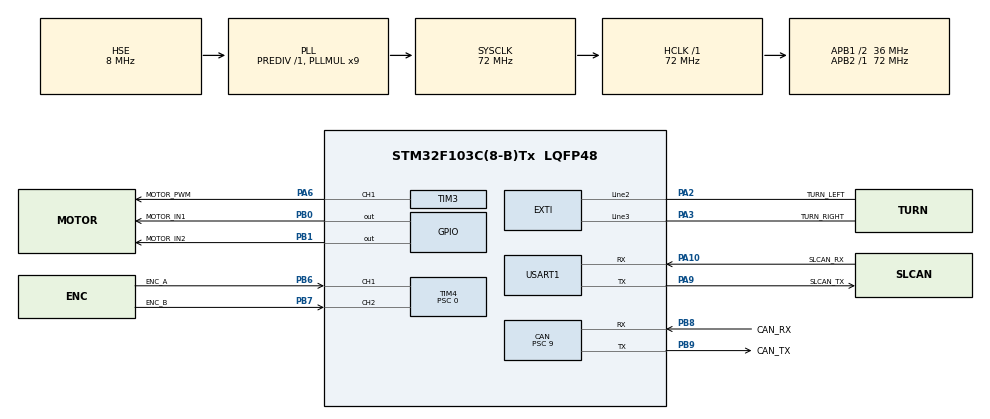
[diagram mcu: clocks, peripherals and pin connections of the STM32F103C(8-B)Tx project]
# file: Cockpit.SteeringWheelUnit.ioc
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CAN.ABOM=ENABLE
CAN.AWUM=DISABLE
CAN.BS1=CAN_BS1_6TQ
CAN.BS2=CAN_BS2_1TQ
CAN.Mode=CAN_MODE_NORMAL
CAN.NART=DISABLE
CAN.Prescaler=9
CAN.RFLM=DISABLE
CAN.SJW=CAN_SJW_1TQ
CAN.TTCM=DISABLE
CAN.TXFP=DISABLE
Mcu.Family=STM32F1
Mcu.Name=STM32F103C(8-B)Tx
Mcu.Package=LQFP48
NVIC.CAN1_RX0_IRQn=true\:2\:0\:true\:false\:true\:true\:true\:true
NVIC.EXTI2_IRQn=true\:3\:0\:true\:false\:true\:true\:true\:true
NVIC.EXTI3_IRQn=true\:3\:0\:true\:false\:true\:true\:true\:true
NVIC.PriorityGroup=NVIC_PRIORITYGROUP_4
NVIC.USART1_IRQn=true\:1\:0\:true\:false\:true\:true\:true\:true
PA2.GPIO_Label=TURN_LEFT
PA2.GPIO_PuPd=GPIO_PULLUP
PA2.Mode=External Interrupt Mode with Falling edge trigger detection
PA2.Signal=EXTI_Line2
PA3.GPIO_Label=TURN_RIGHT
PA3.GPIO_PuPd=GPIO_PULLUP
PA3.Mode=External Interrupt Mode with Falling edge trigger detection
PA3.Signal=EXTI_Line3
PA6.GPIO_Label=MOTOR_PWM
PA6.GPIO_Speed=GPIO_SPEED_FREQ_HIGH
PA6.Signal=S_TIM3_CH1
PA9.GPIO_Label=SLCAN_TX
PA9.GPIO_Speed=GPIO_SPEED_FREQ_HIGH
PA9.Mode=Asynchronous
PA9.Signal=USART1_TX
PA10.GPIO_Label=SLCAN_RX
PA10.Mode=Asynchronous
PA10.Signal=USART1_RX
PB0.GPIO_Label=MOTOR_IN1
PB0.GPIO_Speed=GPIO_SPEED_FREQ_LOW
PB0.Signal=GPIO_Output
PB1.GPIO_Label=MOTOR_IN2
PB1.GPIO_Speed=GPIO_SPEED_FREQ_LOW
PB1.Signal=GPIO_Output
PB6.GPIO_Label=ENC_A
PB6.GPIO_Mode=GPIO_MODE_AF_INPUT
PB6.GPIO_PuPd=GPIO_PULLUP
PB6.Signal=S_TIM4_CH1
PB7.GPIO_Label=ENC_B
PB7.GPIO_Mode=GPIO_MODE_AF_INPUT
PB7.GPIO_PuPd=GPIO_PULLUP
PB7.Signal=S_TIM4_CH2
PB8.GPIO_Label=CAN_RX
PB8.Mode=CAN_Activate
PB8.Signal=CAN_RX
PB9.GPIO_Label=CAN_TX
PB9.GPIO_Speed=GPIO_SPEED_FREQ_HIGH
PB9.Mode=CAN_Activate
PB9.Signal=CAN_TX
ProjectManager.HeapSize=0x400
ProjectManager.StackSize=0x400
ProjectManager.TargetToolchain=CMake
RCC.AHBFreq_Value=72000000
RCC.APB1CLKDivider=RCC_HCLK_DIV2
RCC.APB1Freq_Value=36000000
RCC.APB1TimFreq_Value=72000000
RCC.APB2CLKDivider=RCC_HCLK_DIV1
RCC.APB2Freq_Value=72000000
RCC.APB2TimFreq_Value=72000000
RCC.HCLKFreq_Value=72000000
RCC.HSEState=RCC_HSE_ON
RCC.PLLMul=RCC_PLL_MUL9
RCC.PLLSource=RCC_PLLSOURCE_HSE
RCC.SYSCLKFreq_VALUE=72000000
RCC.SYSCLKSource=RCC_SYSCLKSOURCE_PLLCLK
SH.S_TIM3_CH1.0=TIM3_CH1,PWM Generation CH1
SH.S_TIM4_CH1.0=TIM4_CH1,Encoder_Interface
SH.S_TIM4_CH2.0=TIM4_CH2,Encoder_Interface
TIM3.Channel-1=TIM_CHANNEL_1
TIM3.ClockDivision=TIM_CLOCKDIVISION_DIV1
TIM3.CounterMode=TIM_COUNTERMODE_UP
TIM3.Period=999
TIM3.Prescaler=71
TIM4.Channel-1=TIM_CHANNEL_1
TIM4.Channel-2=TIM_CHANNEL_2
TIM4.EncoderMode=TIM_ENCODERMODE_TI12
TIM4.IC1Filter=15
TIM4.IC2Filter=15
TIM4.Period=65535
TIM4.Prescaler=0
USART1.VirtualMode=VM_ASYNC
USART1.VirtualMode-Asynchronous=VM_ASYNC
VP_SYS_VS_ND.Mode=No_Debug
board=custom

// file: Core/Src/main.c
/* USER CODE BEGIN Header */
/**
  ******************************************************************************
  * @file           : main.c
  * @brief          : Cockpit SteeringWheelUnit Firmware
  *                   FFB via SLCAN (USART1, 2Mbaud) + CAN1 (500Kbps)
  *                   Motor: L298N + DC Motor | Sensor: Quadrature Encoder
  ******************************************************************************
  */
/* USER CODE END Header */
#include "main.h"

/* USER CODE BEGIN Includes */
#include <stdio.h>
#include <stdlib.h>
#include <string.h>
/* USER CODE END Includes */

/* USER CODE BEGIN PD */
#define ENCODER_PPR         400u
#define GEAR_RATIO          1u  /* Encoder directly connected, no gear */
/* Quadrature 4x counts per motor rev × gear ratio = counts per wheel rev */
#define COUNTS_PER_REV      (ENCODER_PPR * 4u * GEAR_RATIO)   /* 6400 */
#define MAX_STEERING_DEG    450.0f
/* ±450° in encoder counts: 6400 * 450/360 = 8000 */
#define MAX_ENC_COUNT       8000
#define PWM_PERIOD          999u

#define CAN_ID_STEERING     0x100u
#define CAN_ID_SWITCHES     0x101u
#define CAN_ID_FFB_DIAG     0x102u  /* FFB diagnostic */
#define CAN_ID_CAN_ESR      0x103u  /* CAN ESR diagnostic */
#define CAN_ID_FFB          0x105u
#define CAN_ID_ENC_ZERO     0x106u  /* Encoder zero calibration command */
#define CAN_ID_ANGLE_CAL    0x107u  /* Angle scale calibration: int16 known_angle×10 */
#define ANGLE_TX_PERIOD_MS  10u
#define SW_TX_PERIOD_MS     100u
/* USER CODE END PD */

CAN_HandleTypeDef hcan;

TIM_HandleTypeDef htim3;
TIM_HandleTypeDef htim4;

UART_HandleTypeDef huart1;

/* USER CODE BEGIN PV */
static volatile int16_t  g_ffb_torque    = 0;
static volatile int32_t  g_enc_total     = 0;
static volatile int32_t  g_enc_zero      = 0;  /* Encoder zero offset (set by 0x106 cmd) */
static volatile float    g_angle_scale   = (180.0f / 520.0f); /* Angle scale: 180° physical = 520° raw */
static volatile float    g_steering_deg  = 0.0f;
static          int16_t  g_enc_prev      = 0;
static volatile uint8_t  g_slcan_open    = 0;
static volatile uint8_t  g_turn_left     = 0;
static volatile uint8_t  g_turn_right    = 0;

static volatile uint32_t g_ffb_rx_count  = 0;
static volatile int16_t  g_ffb_last_raw = 0;
static volatile uint32_t g_last_duty    = 0;

static uint8_t  g_slcan_line[32];
static uint8_t  g_slcan_pos     = 0;
static uint8_t  g_uart_rx_byte  = 0;
/* USER CODE END PV */

void SystemClock_Config(void);
static void MX_GPIO_Init(void);
static void MX_USART1_UART_Init(void);
/* USER CODE BEGIN PFP */
static void Motor_SetTorque(int16_t torque);
static void Encoder_Update(void);
static void SLCAN_ProcessByte(uint8_t byte);
static void SLCAN_ParseLine(void);
static void SLCAN_SendAngle(void);
static void TurnSignal_Send(void);
static uint8_t Hex2Nibble(uint8_t c);
/* USER CODE END PFP */

/* USER CODE BEGIN 0 */

static void Motor_SetTorque(int16_t torque)
{
    /* Hard end-stop: actively push back at full power when past max angle */
    if (g_steering_deg >= MAX_STEERING_DEG) {
        torque = -32767;
    } else if (g_steering_deg <= -MAX_STEERING_DEG) {
        torque = 32767;
    }

    int32_t abs_t = (torque < 0) ? -torque : torque;
    uint32_t duty = (uint32_t)(abs_t * PWM_PERIOD / 32767u);

    /* Minimum duty: L298N needs ~15% to overcome motor friction */
    const uint32_t min_duty = 150u;
    if (abs_t > 0 && duty < min_duty) duty = min_duty;

    if (torque > 0) {
        HAL_GPIO_WritePin(MOTOR_IN1_GPIO_Port, MOTOR_IN1_Pin, GPIO_PIN_SET);
        HAL_GPIO_WritePin(MOTOR_IN2_GPIO_Port, MOTOR_IN2_Pin, GPIO_PIN_RESET);
    } else if (torque < 0) {
        HAL_GPIO_WritePin(MOTOR_IN1_GPIO_Port, MOTOR_IN1_Pin, GPIO_PIN_RESET);
        HAL_GPIO_WritePin(MOTOR_IN2_GPIO_Port, MOTOR_IN2_Pin, GPIO_PIN_SET);
    } else {
        /* Brake: both IN low */
        HAL_GPIO_WritePin(MOTOR_IN1_GPIO_Port, MOTOR_IN1_Pin, GPIO_PIN_RESET);
        HAL_GPIO_WritePin(MOTOR_IN2_GPIO_Port, MOTOR_IN2_Pin, GPIO_PIN_RESET);
        duty = 0;
    }
    g_last_duty = duty;
    __HAL_TIM_SET_COMPARE(&htim3, TIM_CHANNEL_1, duty);
}

static void Encoder_Update(void)
{
    /* Two's-complement delta handles 16-bit counter overflow correctly */
    int16_t raw   = (int16_t)__HAL_TIM_GET_COUNTER(&htim4);
    int16_t delta = raw - g_enc_prev;
    g_enc_prev    = raw;

    /* Only update if encoder moved */
    if (delta != 0) {
        g_enc_total += delta;

        int32_t enc_rel = g_enc_total - g_enc_zero;
        if (enc_rel >  MAX_ENC_COUNT) enc_rel =  MAX_ENC_COUNT;
        if (enc_rel < -MAX_ENC_COUNT) enc_rel = -MAX_ENC_COUNT;

        g_steering_deg = (float)enc_rel * 360.0f / (float)COUNTS_PER_REV * g_angle_scale;

        /* Visual feedback: toggle LED on encoder movement */
        HAL_GPIO_TogglePin(GPIOC, GPIO_PIN_13);
    }
}

static uint8_t Hex2Nibble(uint8_t c)
{
    if (c >= '0' && c <= '9') return c - '0';
    if (c >= 'A' && c <= 'F') return c - 'A' + 10u;
    if (c >= 'a' && c <= 'f') return c - 'a' + 10u;
    return 0;
}

static void SLCAN_SendAngle(void)
{
    int16_t raw = (int16_t)(g_steering_deg * 10.0f);
    uint8_t d[2] = { (uint8_t)(raw & 0xFF), (uint8_t)((raw >> 8) & 0xFF) };

    if (g_slcan_open) {
        uint8_t buf[14];
        uint8_t len = (uint8_t)snprintf((char *)buf, sizeof(buf),
            "t%03X2%02X%02X\r", CAN_ID_STEERING, d[0], d[1]);
        HAL_UART_Transmit(&huart1, buf, len, 20);
    }

    /* Also broadcast on physical CAN bus */
    CAN_TxHeaderTypeDef hdr = {
        .StdId              = CAN_ID_STEERING,
        .IDE                = CAN_ID_STD,
        .RTR                = CAN_RTR_DATA,
        .DLC                = 2,
        .TransmitGlobalTime = DISABLE,
    };
    uint32_t mailbox;
    HAL_CAN_AddTxMessage(&hcan, &hdr, d, &mailbox);
}

static void SLCAN_ParseLine(void)
{
    const uint8_t ack = '\r';
    switch (g_slcan_line[0]) {
    case 'O':
        g_slcan_open = 1;
        HAL_UART_Transmit(&huart1, (uint8_t *)&ack, 1, 10);
        break;

    case 'C':
        g_slcan_open = 0;
        Motor_SetTorque(0);
        HAL_UART_Transmit(&huart1, (uint8_t *)&ack, 1, 10);
        break;

    case 'S':
        /* Speed command ignored: baud is fixed via UART hardware */
        HAL_UART_Transmit(&huart1, (uint8_t *)&ack, 1, 10);
        break;

    case 'V': case 'v':
        HAL_UART_Transmit(&huart1, (uint8_t *)"V0101\r", 6, 10);
        break;

    case 't': {
        /* t<3hex_id><1hex_dlc><2hex × dlc> */
        if (g_slcan_pos < 5u) break;
        uint16_t can_id = (uint16_t)(
            ((uint16_t)Hex2Nibble(g_slcan_line[1]) << 8) |
            ((uint16_t)Hex2Nibble(g_slcan_line[2]) << 4) |
             (uint16_t)Hex2Nibble(g_slcan_line[3]));
        uint8_t dlc = g_slcan_line[4] - '0';
        if (dlc > 8u || g_slcan_pos < (uint8_t)(5u + dlc * 2u)) break;

        uint8_t data[8];
        for (uint8_t i = 0; i < dlc; i++) {
            data[i] = (uint8_t)(
                (Hex2Nibble(g_slcan_line[5u + i * 2u]) << 4) |
                 Hex2Nibble(g_slcan_line[6u + i * 2u]));
        }

        if (can_id == CAN_ID_FFB && dlc >= 2u) {
            g_ffb_torque = (int16_t)(data[0] | ((uint16_t)data[1] << 8));
            Motor_SetTorque(g_ffb_torque);
        }
        HAL_UART_Transmit(&huart1, (uint8_t *)"z\r", 2, 10);
        break;
    }
    default:
        break;
    }
}

static void SLCAN_ProcessByte(uint8_t byte)
{
    if (byte == '\r' || byte == '\n') {
        if (g_slcan_pos > 0u) {
            g_slcan_line[g_slcan_pos] = '\0';
            SLCAN_ParseLine();
            g_slcan_pos = 0;
        }
    } else if (g_slcan_pos < (uint8_t)(sizeof(g_slcan_line) - 1u)) {
        g_slcan_line[g_slcan_pos++] = byte;
    }
}

static void TurnSignal_Send(void)
{
    uint16_t sw = (uint16_t)(g_turn_left | ((uint16_t)g_turn_right << 1));
    uint8_t d[2] = { (uint8_t)(sw & 0xFF), (uint8_t)(sw >> 8) };

    if (g_slcan_open) {
        uint8_t buf[14];
        uint8_t len = (uint8_t)snprintf((char *)buf, sizeof(buf),
            "t%03X2%02X%02X\r", CAN_ID_SWITCHES, d[0], d[1]);
        HAL_UART_Transmit(&huart1, buf, len, 20);
    }

    CAN_TxHeaderTypeDef hdr = {
        .StdId              = CAN_ID_SWITCHES,
        .IDE                = CAN_ID_STD,
        .RTR                = CAN_RTR_DATA,
        .DLC                = 2,
        .TransmitGlobalTime = DISABLE,
    };
    uint32_t mailbox;
    HAL_CAN_AddTxMessage(&hcan, &hdr, d, &mailbox);
}

/* USER CODE END 0 */

int main(void)
{

  /* MCU Configuration--------------------------------------------------------*/

  /* Reset of all peripherals, Initializes the Flash interface and the Systick. */
  HAL_Init();

  /* Configure the system clock */
  SystemClock_Config();

  /* Initialize all configured peripherals */
  MX_GPIO_Init();
  MX_CAN_Init();
  MX_TIM3_Init();
  MX_TIM4_Init();
  MX_USART1_UART_Init();
  /* USER CODE BEGIN 2 */
  HAL_TIM_PWM_Start(&htim3, TIM_CHANNEL_1);
  HAL_TIM_Encoder_Start(&htim4, TIM_CHANNEL_ALL);

  /* Initialize encoder previous value to current counter */
  g_enc_prev = (int16_t)__HAL_TIM_GET_COUNTER(&htim4);

  /* CAN: accept all frames, then start */
  CAN_FilterTypeDef filter = {
      .FilterBank           = 0,
      .FilterMode           = CAN_FILTERMODE_IDMASK,
      .FilterScale          = CAN_FILTERSCALE_32BIT,
      .FilterIdHigh         = 0x0000,
      .FilterIdLow          = 0x0000,
      .FilterMaskIdHigh     = 0x0000,
      .FilterMaskIdLow      = 0x0000,
      .FilterFIFOAssignment = CAN_RX_FIFO0,
      .FilterActivation     = ENABLE,
  };
  HAL_CAN_ConfigFilter(&hcan, &filter);
  HAL_CAN_ActivateNotification(&hcan, CAN_IT_RX_FIFO0_MSG_PENDING);
  HAL_CAN_Start(&hcan);

  /* === CAN SELF-TEST: TX 0x105, check if RX callback fires === */
  {
      CAN_TxHeaderTypeDef hdr = {
          .StdId              = CAN_ID_FFB,
          .IDE                = CAN_ID_STD,
          .RTR                = CAN_RTR_DATA,
          .DLC                = 2,
          .TransmitGlobalTime = DISABLE,
      };
      uint8_t test_data[2] = { 0x7F, 0x00 }; // torque = 127
      uint32_t mailbox;
      HAL_CAN_AddTxMessage(&hcan, &hdr, test_data, &mailbox);
      HAL_Delay(50); // Wait for RX callback
      // rxCount should be 1 if self-reception works
  }
  /* === END SELF-TEST === */

  /* UART: start single-byte interrupt receive */
  HAL_UART_Receive_IT(&huart1, &g_uart_rx_byte, 1);

  /* Motor idle: brake */
  HAL_GPIO_WritePin(MOTOR_IN1_GPIO_Port, MOTOR_IN1_Pin, GPIO_PIN_RESET);
  HAL_GPIO_WritePin(MOTOR_IN2_GPIO_Port, MOTOR_IN2_Pin, GPIO_PIN_RESET);
  __HAL_TIM_SET_COMPARE(&htim3, TIM_CHANNEL_1, 0);

  /* EXTI interrupts for turn signal stalks */
  HAL_NVIC_SetPriority(EXTI2_IRQn, 3, 0);
  HAL_NVIC_EnableIRQ(EXTI2_IRQn);
  HAL_NVIC_SetPriority(EXTI3_IRQn, 3, 0);
  HAL_NVIC_EnableIRQ(EXTI3_IRQn);

  uint32_t last_angle_tx   = 0;
  uint32_t last_enc_update = 0;
  uint32_t last_sw_tx      = 0;
  uint32_t last_led        = 0;
  /* USER CODE END 2 */

  /* Infinite loop */
  /* USER CODE BEGIN WHILE */
  while (1)
  {
    uint32_t now = HAL_GetTick();

    /* Update encoder position every 1 ms */
    if ((now - last_enc_update) >= 1u) {
      Encoder_Update();
      last_enc_update = now;
    }

    /* Send steering angle and re-apply FFB every 10 ms (100 Hz) */
    if ((now - last_angle_tx) >= ANGLE_TX_PERIOD_MS) {
      Motor_SetTorque(g_ffb_torque);
      SLCAN_SendAngle();

      /* FFB diagnostic: send rx_count, last_raw, last_duty, steering_deg */
      {
        uint8_t dbg[8];
        dbg[0] = (uint8_t)(g_ffb_rx_count & 0xFF);
        dbg[1] = (uint8_t)((g_ffb_rx_count >> 8) & 0xFF);
        dbg[2] = (uint8_t)(g_ffb_last_raw & 0xFF);
        dbg[3] = (uint8_t)((g_ffb_last_raw >> 8) & 0xFF);
        dbg[4] = (uint8_t)(g_last_duty & 0xFF);
        dbg[5] = (uint8_t)((g_last_duty >> 8) & 0xFF);
        int16_t deg10 = (int16_t)(g_steering_deg * 10.0f);
        dbg[6] = (uint8_t)(deg10 & 0xFF);
        dbg[7] = (uint8_t)((deg10 >> 8) & 0xFF);

        CAN_TxHeaderTypeDef hdr = {
            .StdId              = CAN_ID_FFB_DIAG,
            .IDE                = CAN_ID_STD,
            .RTR                = CAN_RTR_DATA,
            .DLC                = 8,
            .TransmitGlobalTime = DISABLE,
        };
        uint32_t mailbox;
        HAL_CAN_AddTxMessage(&hcan, &hdr, dbg, &mailbox);
      }

      /* CAN ESR diagnostic: send CAN error + bus status */
      {
        uint32_t esr = hcan.Instance->ESR;
        uint32_t rf0r = hcan.Instance->RF0R;  /* RX FIFO 0: bits [1:0]=FMP (pending msgs) */
        uint32_t tsr = hcan.Instance->TSR;     /* TX status */
        uint32_t idr = GPIOB->IDR;             /* PB8=CAN_RX actual pin level */

        uint8_t dbg[8];
        dbg[0] = (uint8_t)(esr & 0xFF);        /* EWG/EPV/BOFF/LEC */
        dbg[1] = (uint8_t)((esr >> 16) & 0xFF);/* TEC */
        dbg[2] = (uint8_t)((esr >> 24) & 0xFF);/* REC */
        dbg[3] = (uint8_t)(rf0r & 0xFF);       /* RF0R: FMP0, FULL, FOVR */
        dbg[4] = (uint8_t)((tsr >> 24) & 0xFF);/* TSR: TXOK0/1/2, TME0/1/2 */
        dbg[5] = (uint8_t)((idr >> 8) & 0x01); /* PB8 pin level (0=dominant, 1=recessive) */
        dbg[6] = (uint8_t)(hcan.Instance->BTR & 0xFF); /* BTR low byte: prescaler bits */
        dbg[7] = (uint8_t)((hcan.Instance->BTR >> 8) & 0xFF); /* BTR: TS1/TS2/SJW */

        CAN_TxHeaderTypeDef hdr = {
            .StdId              = CAN_ID_CAN_ESR,
            .IDE                = CAN_ID_STD,
            .RTR                = CAN_RTR_DATA,
            .DLC                = 8,
            .TransmitGlobalTime = DISABLE,
        };
        uint32_t mailbox;
        HAL_CAN_AddTxMessage(&hcan, &hdr, dbg, &mailbox);
      }
      last_angle_tx = now;
    }

    /* Periodic turn signal heartbeat every 100 ms */
    if ((now - last_sw_tx) >= SW_TX_PERIOD_MS) {
      TurnSignal_Send();
      last_sw_tx = now;
    }

    /* LED heartbeat: toggle every 500 ms */
    if ((now - last_led) >= 500u) {
      HAL_GPIO_TogglePin(GPIOC, GPIO_PIN_13);
      last_led = now;
    }
    /* USER CODE END WHILE */

  }
}

void SystemClock_Config(void)
{
  RCC_OscInitTypeDef RCC_OscInitStruct = {0};
  RCC_ClkInitTypeDef RCC_ClkInitStruct = {0};

  /** Initializes the RCC Oscillators according to the specified parameters
  * in the RCC_OscInitTypeDef structure.
  */
  RCC_OscInitStruct.OscillatorType = RCC_OSCILLATORTYPE_HSE;
  RCC_OscInitStruct.HSEState = RCC_HSE_ON;
  RCC_OscInitStruct.HSEPredivValue = RCC_HSE_PREDIV_DIV1;
  RCC_OscInitStruct.HSIState = RCC_HSI_ON;
  RCC_OscInitStruct.PLL.PLLState = RCC_PLL_ON;
  RCC_OscInitStruct.PLL.PLLSource = RCC_PLLSOURCE_HSE;
  RCC_OscInitStruct.PLL.PLLMUL = RCC_PLL_MUL9;
  if (HAL_RCC_OscConfig(&RCC_OscInitStruct) != HAL_OK)
  {
    Error_Handler();
  }

  /** Initializes the CPU, AHB and APB buses clocks
  */
  RCC_ClkInitStruct.ClockType = RCC_CLOCKTYPE_HCLK|RCC_CLOCKTYPE_SYSCLK
                              |RCC_CLOCKTYPE_PCLK1|RCC_CLOCKTYPE_PCLK2;
  RCC_ClkInitStruct.SYSCLKSource = RCC_SYSCLKSOURCE_PLLCLK;
  RCC_ClkInitStruct.AHBCLKDivider = RCC_SYSCLK_DIV1;
  RCC_ClkInitStruct.APB1CLKDivider = RCC_HCLK_DIV2;
  RCC_ClkInitStruct.APB2CLKDivider = RCC_HCLK_DIV1;

  if (HAL_RCC_ClockConfig(&RCC_ClkInitStruct, FLASH_LATENCY_2) != HAL_OK)
  {
    Error_Handler();
  }
}

void MX_CAN_Init(void)
{

  hcan.Instance = CAN1;
  hcan.Init.Prescaler = 9;
  hcan.Init.Mode = CAN_MODE_NORMAL;
  hcan.Init.SyncJumpWidth = CAN_SJW_1TQ;
  hcan.Init.TimeSeg1 = CAN_BS1_6TQ;
  hcan.Init.TimeSeg2 = CAN_BS2_1TQ;
  hcan.Init.TimeTriggeredMode = DISABLE;
  hcan.Init.AutoBusOff = ENABLE;
  hcan.Init.AutoWakeUp = DISABLE;
  hcan.Init.AutoRetransmission = DISABLE;
  hcan.Init.ReceiveFifoLocked = DISABLE;
  hcan.Init.TransmitFifoPriority = DISABLE;
  if (HAL_CAN_Init(&hcan) != HAL_OK)
  {
    Error_Handler();
  }

}

void MX_TIM3_Init(void)
{

  TIM_SlaveConfigTypeDef sSlaveConfig = {0};
  TIM_MasterConfigTypeDef sMasterConfig = {0};

  htim3.Instance = TIM3;
  htim3.Init.Prescaler = 71;
  htim3.Init.CounterMode = TIM_COUNTERMODE_UP;
  htim3.Init.Period = 999;
  htim3.Init.ClockDivision = TIM_CLOCKDIVISION_DIV1;
  htim3.Init.AutoReloadPreload = TIM_AUTORELOAD_PRELOAD_DISABLE;
  if (HAL_TIM_Base_Init(&htim3) != HAL_OK)
  {
    Error_Handler();
  }
  sSlaveConfig.SlaveMode = TIM_SLAVEMODE_DISABLE;
  sSlaveConfig.InputTrigger = TIM_TS_TI1F_ED;
  sSlaveConfig.TriggerFilter = 0;
  if (HAL_TIM_SlaveConfigSynchro(&htim3, &sSlaveConfig) != HAL_OK)
  {
    Error_Handler();
  }
  sMasterConfig.MasterOutputTrigger = TIM_TRGO_RESET;
  sMasterConfig.MasterSlaveMode = TIM_MASTERSLAVEMODE_DISABLE;
  if (HAL_TIMEx_MasterConfigSynchronization(&htim3, &sMasterConfig) != HAL_OK)
  {
    Error_Handler();
  }
  /* USER CODE BEGIN TIM3_Init 2 */
  {
    TIM_OC_InitTypeDef sConfigOC = {0};
    sConfigOC.OCMode     = TIM_OCMODE_PWM1;
    sConfigOC.Pulse      = 0;
    sConfigOC.OCPolarity = TIM_OCPOLARITY_HIGH;
    sConfigOC.OCFastMode = TIM_OCFAST_DISABLE;
    if (HAL_TIM_PWM_ConfigChannel(&htim3, &sConfigOC, TIM_CHANNEL_1) != HAL_OK) {
      Error_Handler();
    }
  }
  /* USER CODE END TIM3_Init 2 */

}

void MX_TIM4_Init(void)
{

  TIM_Encoder_InitTypeDef sConfig = {0};
  TIM_MasterConfigTypeDef sMasterConfig = {0};

  htim4.Instance = TIM4;
  htim4.Init.Prescaler = 0;
  htim4.Init.CounterMode = TIM_COUNTERMODE_UP;
  htim4.Init.Period = 65535;
  htim4.Init.ClockDivision = TIM_CLOCKDIVISION_DIV1;
  htim4.Init.AutoReloadPreload = TIM_AUTORELOAD_PRELOAD_DISABLE;
  sConfig.EncoderMode = TIM_ENCODERMODE_TI12;
  sConfig.IC1Polarity = TIM_ICPOLARITY_RISING;
  sConfig.IC1Selection = TIM_ICSELECTION_DIRECTTI;
  sConfig.IC1Prescaler = TIM_ICPSC_DIV1;
  sConfig.IC1Filter = 0;
  sConfig.IC2Polarity = TIM_ICPOLARITY_RISING;
  sConfig.IC2Selection = TIM_ICSELECTION_DIRECTTI;
  sConfig.IC2Prescaler = TIM_ICPSC_DIV1;
  sConfig.IC2Filter = 0;
  if (HAL_TIM_Encoder_Init(&htim4, &sConfig) != HAL_OK)
  {
    Error_Handler();
  }
  sMasterConfig.MasterOutputTrigger = TIM_TRGO_RESET;
  sMasterConfig.MasterSlaveMode = TIM_MASTERSLAVEMODE_DISABLE;
  if (HAL_TIMEx_MasterConfigSynchronization(&htim4, &sMasterConfig) != HAL_OK)
  {
    Error_Handler();
  }

}

static void MX_USART1_UART_Init(void)
{

  huart1.Instance = USART1;
  huart1.Init.BaudRate = 115200;
  huart1.Init.WordLength = UART_WORDLENGTH_8B;
  huart1.Init.StopBits = UART_STOPBITS_1;
  huart1.Init.Parity = UART_PARITY_NONE;
  huart1.Init.Mode = UART_MODE_TX_RX;
  huart1.Init.HwFlowCtl = UART_HWCONTROL_NONE;
  huart1.Init.OverSampling = UART_OVERSAMPLING_16;
  if (HAL_UART_Init(&huart1) != HAL_OK)
  {
    Error_Handler();
  }
  /* USER CODE BEGIN USART1_Init 2 */
  huart1.Init.BaudRate = 2000000;
  if (HAL_UART_Init(&huart1) != HAL_OK) { Error_Handler(); }
  /* USER CODE END USART1_Init 2 */

}

static void MX_GPIO_Init(void)
{
  GPIO_InitTypeDef GPIO_InitStruct = {0};

  /* GPIO Ports Clock Enable */
  __HAL_RCC_GPIOA_CLK_ENABLE();
  __HAL_RCC_GPIOB_CLK_ENABLE();

  /*Configure GPIO pin Output Level */
  HAL_GPIO_WritePin(GPIOB, MOTOR_IN1_Pin|MOTOR_IN2_Pin, GPIO_PIN_RESET);

  /*Configure GPIO pins : MOTOR_IN1_Pin MOTOR_IN2_Pin */
  GPIO_InitStruct.Pin = MOTOR_IN1_Pin|MOTOR_IN2_Pin;
  GPIO_InitStruct.Mode = GPIO_MODE_OUTPUT_PP;
  GPIO_InitStruct.Pull = GPIO_NOPULL;
  GPIO_InitStruct.Speed = GPIO_SPEED_FREQ_LOW;
  HAL_GPIO_Init(GPIOB, &GPIO_InitStruct);

  /* USER CODE BEGIN MX_GPIO_Init_2 */
  {
    GPIO_InitTypeDef g = {0};
    g.Pin  = TURN_LEFT_Pin;
    g.Mode = GPIO_MODE_IT_FALLING;
    g.Pull = GPIO_PULLUP;
    HAL_GPIO_Init(TURN_LEFT_GPIO_Port, &g);

    g.Pin  = TURN_RIGHT_Pin;
    g.Mode = GPIO_MODE_IT_FALLING;
    g.Pull = GPIO_PULLUP;
    HAL_GPIO_Init(TURN_RIGHT_GPIO_Port, &g);

    /* PC13: onboard LED (active LOW) — blinks when encoder moves */
    __HAL_RCC_GPIOC_CLK_ENABLE();
    g.Pin   = GPIO_PIN_13;
    g.Mode  = GPIO_MODE_OUTPUT_PP;
    g.Pull  = GPIO_NOPULL;
    g.Speed = GPIO_SPEED_FREQ_LOW;
    HAL_GPIO_Init(GPIOC, &g);
    HAL_GPIO_WritePin(GPIOC, GPIO_PIN_13, GPIO_PIN_SET); /* LED off */
  }
  /* USER CODE END MX_GPIO_Init_2 */
}

/* USER CODE BEGIN 4 */

/* CAN RX FIFO0 callback — forwards all frames via SLCAN, handles FFB torque */
void HAL_CAN_RxFifo0MsgPendingCallback(CAN_HandleTypeDef *hcan_arg)
{
  CAN_RxHeaderTypeDef rx_hdr;
  uint8_t             rx_data[8];

  if (HAL_CAN_GetRxMessage(hcan_arg, CAN_RX_FIFO0, &rx_hdr, rx_data) != HAL_OK)
    return;

  if (rx_hdr.StdId == CAN_ID_FFB && rx_hdr.DLC >= 2u) {
    g_ffb_torque = (int16_t)(rx_data[0] | ((uint16_t)rx_data[1] << 8));
    g_ffb_rx_count++;
    g_ffb_last_raw = g_ffb_torque;
    Motor_SetTorque(g_ffb_torque);
  } else if (rx_hdr.StdId == CAN_ID_ENC_ZERO) {
    /* Set current encoder position as zero (wheel must be at physical center) */
    g_enc_zero = g_enc_total;
    g_steering_deg = 0.0f;
  } else if (rx_hdr.StdId == CAN_ID_ANGLE_CAL && rx_hdr.DLC >= 2u) {
    /* Angle scale calibration: data = known angle × 10 (int16 LE).
     * Turn wheel to a known angle from zero, then send this command.
     * STM32 computes the correction factor from enc_rel vs known angle. */
    int16_t known_deg10 = (int16_t)(rx_data[0] | ((uint16_t)rx_data[1] << 8));
    int32_t enc_rel = g_enc_total - g_enc_zero;
    if (enc_rel != 0 && known_deg10 != 0) {
      float reported = (float)enc_rel * 360.0f / (float)COUNTS_PER_REV;
      g_angle_scale = (known_deg10 / 10.0f) / reported;
    }
  }

  /* Forward every received frame to host via SLCAN (always, regardless of open state) */
  {
    uint8_t buf[30];
    uint8_t len = (uint8_t)snprintf((char *)buf, sizeof(buf), "t%03X%u",
                                    (unsigned)rx_hdr.StdId, (unsigned)rx_hdr.DLC);
    for (uint8_t i = 0; i < rx_hdr.DLC; i++)
      len += (uint8_t)snprintf((char *)buf + len, sizeof(buf) - len, "%02X", rx_data[i]);
    buf[len++] = '\r';
    HAL_UART_Transmit(&huart1, buf, len, 20);
  }
}

/* UART RX complete callback — feeds SLCAN line parser */
void HAL_UART_RxCpltCallback(UART_HandleTypeDef *huart)
{
  if (huart->Instance == USART1) {
    SLCAN_ProcessByte(g_uart_rx_byte);
    HAL_UART_Receive_IT(&huart1, &g_uart_rx_byte, 1);
  }
}

/* EXTI callback — turn signal stalks toggle state */
void HAL_GPIO_EXTI_Callback(uint16_t GPIO_Pin)
{
  if (GPIO_Pin == TURN_LEFT_Pin) {
    g_turn_left ^= 1u;
    TurnSignal_Send();
  } else if (GPIO_Pin == TURN_RIGHT_Pin) {
    g_turn_right ^= 1u;
    TurnSignal_Send();
  }
}

/* USER CODE END 4 */

void Error_Handler(void)
{
  __disable_irq();
  while (1) {}
}
